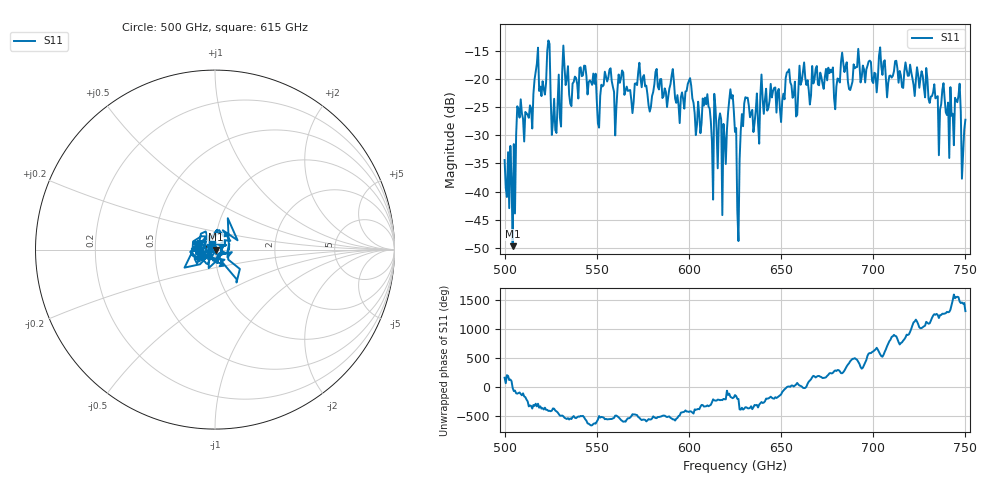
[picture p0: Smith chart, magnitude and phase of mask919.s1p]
!Created with skrf (http://scikit-rf.org).
# GHz S MA R 50.0
!freq magS11 angS11
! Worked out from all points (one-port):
!   401 points, 500 GHz to 750 GHz, reference 50 ohm
!   lowest |S11| = -49.7 dB at 504.4 GHz (marker M1), VSWR 1.01, Z = 50.3 - j0.115 ohm
!   |S11| at or under -10 dB: start of sweep to end of sweep
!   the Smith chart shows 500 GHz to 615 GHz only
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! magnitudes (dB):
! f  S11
! 500 GHz  -34.4
! 504.4 GHz  -49.7
! 507.5 GHz  -25.4
! 513.8 GHz  -24.7
! 516.9 GHz  -18.7
! 520.6 GHz  -20.4
! 523.8 GHz  -13.2
! 526.9 GHz  -23.5
! 531.2 GHz  -18.7
! 542.5 GHz  -19.4
! 551.2 GHz  -28.6
! 562.5 GHz  -20.7
! 593.8 GHz  -22.9
! 610 GHz  -22.7
! 611.9 GHz  -27.5
! 619.4 GHz  -30.4
! 623.1 GHz  -23.5
! 625 GHz  -29.4
! 626.9 GHz  -48.8
! 631.2 GHz  -23.4
! 656.2 GHz  -23.4
! 680 GHz  -21.4
! 683.8 GHz  -17.2
! 687.5 GHz  -22.0
! 718.8 GHz  -19.5
! 742.5 GHz  -26.5
! 745.6 GHz  -24.1
! 750 GHz  -27.2
